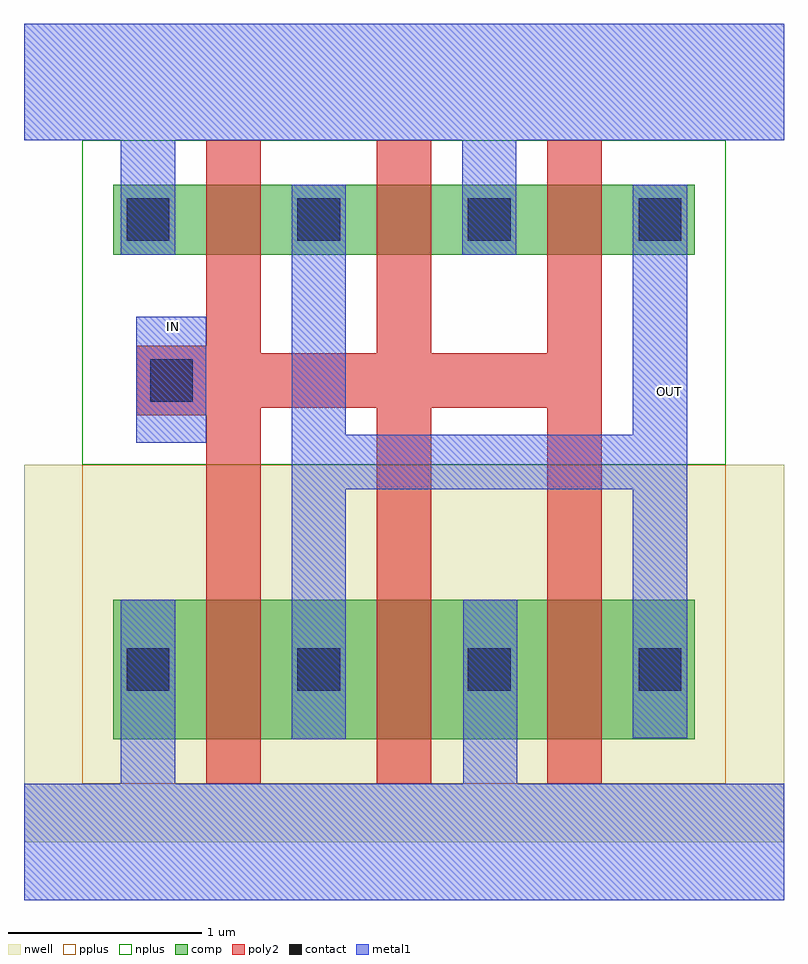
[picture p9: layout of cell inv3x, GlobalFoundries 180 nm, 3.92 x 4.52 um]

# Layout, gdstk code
import gdstk
lib = gdstk.Library(unit=1e-6, precision=5e-09)
def R(c, l, rs):  # rectangles x0, y0, x1, y1
    for r in rs: c.add(gdstk.rectangle(r[:2], r[2:], *l))
def A(c, l, x, y, w, h, nx, ny, dx, dy):  # array of equal rectangles
    R(c, l, [(x+i*dx, y+j*dy, x+i*dx+w, y+j*dy+h) for i in range(nx) for j in range(ny)])
nwell = (21, 0)
comp = (22, 0)
poly2 = (30, 0)
pplus = (31, 0)
nplus = (32, 0)
contact = (33, 0)
metal1 = (34, 0)

inv3x = lib.new_cell('inv3x')
R(inv3x, nwell, [(144.64,24.58,148.56,26.525)])
R(inv3x, comp, [(145.1,25.11,148.1,25.83), (145.1,27.61,148.1,27.97)])
A(inv3x, poly2, 145.58, 24.88, 0.28, 3.32, 3, 1, 0.88, 0)
R(inv3x, poly2, [(145.22,26.78,145.58,27.14), (145.58,26.82,147.62,27.1)])
R(inv3x, pplus, [(144.94,24.88,148.26,26.525)])
R(inv3x, nplus, [(144.94,26.525,148.26,28.2)])
A(inv3x, contact, 145.17, 25.36, 0.22, 0.22, 4, 2, 0.88, 2.32)
R(inv3x, contact, [(145.29,26.85,145.51,27.07)])
R(inv3x, metal1, [(144.64,24.28,148.56,24.88), (145.14,24.88,145.42,25.83), (146.905,24.88,147.185,25.83), (146.02,25.11,146.3,27.97), (147.78,25.115,148.06,27.97), (146.02,26.4,148.06,26.68), (145.22,26.64,145.58,27.29), (145.14,27.61,145.42,28.2), (146.9,27.61,147.18,28.2), (144.64,28.2,148.56,28.8)])
inv3x.add(gdstk.Label('OUT', (147.97,26.905), layer=34, texttype=10))
inv3x.add(gdstk.Label('IN', (145.41,27.24), layer=34, texttype=10))

lib.write_gds('inv3x.gds')
